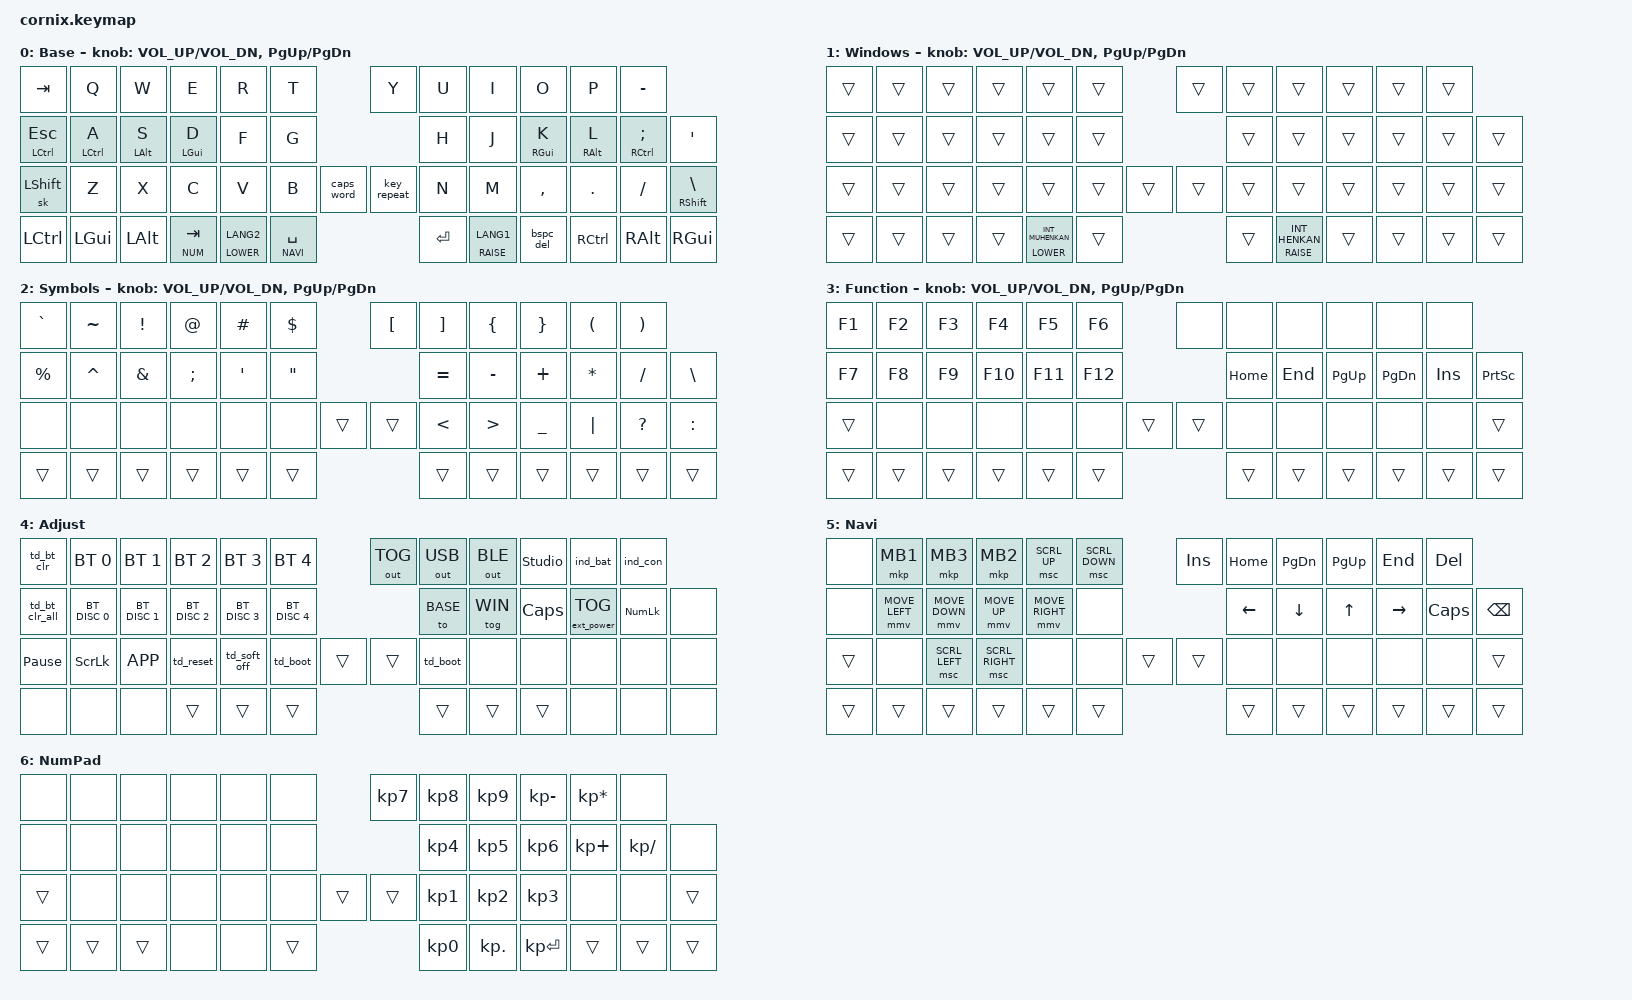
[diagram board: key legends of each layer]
/*
 * Copyright (c) 2020 The ZMK Contributors
 *
 * SPDX-License-Identifier: MIT
 */

#include "zmk-helpers/helper.h"
#include "includes/cornix54.h"

#define HM_TAPPING_TERM 200
#define LT_TAPPING_TERM 250

#define HM_PRIOR_IDLE 125
#define LT_PRIOR_IDLE 150
#define TD_TAPPING_TERM 250

// A higher index wins. WIN only swaps the IME thumbs on Base, so it sits
// right above Base; any higher and its &lt bindings cover the NumPad thumbs.
#define BASE   0
#define WIN    1
#define LOWER  2
#define RAISE  3
#define ADJUST 4
#define NAVI   5
#define NUM    6

// https://github.com/urob/zmk-config/tree/main#timeless-homerow-mods

#define KEYS_L LT0 LT1 LT2 LT3 LT4 LT5 LM0 LM1 LM2 LM3 LM4 LM5 LB0 LB1 LB2 LB3 LB4 LB5  // left hand
#define KEYS_R RT0 RT1 RT2 RT3 RT4 RT5 RM0 RM1 RM2 RM3 RM4 RM5 RB0 RB1 RB2 RB3 RB4 RB5  // right hand
// LH2 is the Tab thumb, RH2 is Backspace. HRM has to include them or
// Shift/Ctrl/Cmd never apply to those keys.
#define KEYS_T LH2 LH1 LH0 RH0 RH1 RH2
#define ZMK_POINTING_DEFAULT_MOVE_VAL 800
#define ZMK_POINTING_DEFAULT_SCRL_VAL 15

#include <behaviors.dtsi>
#include <behaviors/rgbled_widget.dtsi>
#include <dt-bindings/zmk/bt.h>
#include <dt-bindings/zmk/ext_power.h>
#include <dt-bindings/zmk/keys.h>
#include <dt-bindings/zmk/modifiers.h>
#include <dt-bindings/zmk/outputs.h>
#include <dt-bindings/zmk/pointing.h>

/ {
    // Activate ADJUST layer by pressing raise and lower

    behaviors {
        bspc_del: backspace_delete {
            compatible = "zmk,behavior-mod-morph";
            #binding-cells = <0>;
            display-name = "Backspace / Delete";

            bindings = <&kp BACKSPACE>, <&kp DELETE>;
            mods = <(MOD_LSFT | MOD_RSFT)>;
        };

        hm_l: homerow_mods_left {
            compatible = "zmk,behavior-hold-tap";
            #binding-cells = <2>;
            bindings = <&kp>, <&kp>;

            flavor = "balanced";
            tapping-term-ms = <HM_TAPPING_TERM>;
            quick-tap-ms = <200>;                // repeat on tap-into-hold
            require-prior-idle-ms = <HM_PRIOR_IDLE>;
            hold-trigger-key-positions = <KEYS_R KEYS_T>;
            hold-trigger-on-release;
        };

        hm_r: homerow_mods_right {
            compatible = "zmk,behavior-hold-tap";
            #binding-cells = <2>;
            bindings = <&kp>, <&kp>;

            flavor = "balanced";
            tapping-term-ms = <HM_TAPPING_TERM>;
            quick-tap-ms = <200>;
            require-prior-idle-ms = <HM_PRIOR_IDLE>;
            hold-trigger-key-positions = <KEYS_L KEYS_T>;
            hold-trigger-on-release;
        };

        // Plain &mt is hold-preferred, so rolling Esc into the next key
        // (Esc→j in Vim) became Ctrl+J. No positional trigger here: this key
        // exists for same-hand Ctrl+C / Ctrl+Z, which hm_l cannot do.
        esc_ctl: escape_control {
            compatible = "zmk,behavior-hold-tap";
            #binding-cells = <2>;
            bindings = <&kp>, <&kp>;

            flavor = "balanced";
            tapping-term-ms = <HM_TAPPING_TERM>;
            quick-tap-ms = <200>;
            require-prior-idle-ms = <HM_PRIOR_IDLE>;
        };

        lt: layer_tap {
            compatible = "zmk,behavior-hold-tap";
            #binding-cells = <2>;
            bindings = <&mo>, <&kp>;

            // balanced keeps a roll (thumb released before the next key) a tap,
            // yet a held thumb + quick key gets the layer without waiting out
            // the tapping term as tap-preferred did. Prior idle keeps Space
            // typed mid-word a tap.
            flavor = "balanced";
            tapping-term-ms = <LT_TAPPING_TERM>;
            quick-tap-ms = <200>;
            require-prior-idle-ms = <LT_PRIOR_IDLE>;
        };

        // Destructive Adjust keys fire only on a double tap, so brushing them
        // while holding Lower + Raise does nothing.
        td_bt_clr: tap_dance_bt_clear {
            compatible = "zmk,behavior-tap-dance";
            #binding-cells = <0>;
            display-name = "BT Clear (x2)";
            tapping-term-ms = <TD_TAPPING_TERM>;
            bindings = <&none>, <&bt BT_CLR>;
        };

        td_bt_clr_all: tap_dance_bt_clear_all {
            compatible = "zmk,behavior-tap-dance";
            #binding-cells = <0>;
            display-name = "BT Clear All (x2)";
            tapping-term-ms = <TD_TAPPING_TERM>;
            bindings = <&none>, <&bt BT_CLR_ALL>;
        };

        td_reset: tap_dance_sys_reset {
            compatible = "zmk,behavior-tap-dance";
            #binding-cells = <0>;
            display-name = "Reset (x2)";
            tapping-term-ms = <TD_TAPPING_TERM>;
            bindings = <&none>, <&sys_reset>;
        };

        td_soft_off: tap_dance_soft_off {
            compatible = "zmk,behavior-tap-dance";
            #binding-cells = <0>;
            display-name = "Soft Off (x2)";
            tapping-term-ms = <TD_TAPPING_TERM>;
            bindings = <&none>, <&soft_off>;
        };

        // Tap dance keeps the event source, so the right half's copy still
        // reboots the right half into its bootloader.
        td_boot: tap_dance_bootloader {
            compatible = "zmk,behavior-tap-dance";
            #binding-cells = <0>;
            display-name = "Bootloader (x2)";
            tapping-term-ms = <TD_TAPPING_TERM>;
            bindings = <&none>, <&bootloader>;
        };
    };

    conditional_layers {
        compatible = "zmk,conditional-layers";

        adjust_layer {
            if-layers = <RAISE LOWER>;
            then-layer = <ADJUST>;
        };
    };

    keymap {
        compatible = "zmk,keymap";

        default_layer {
            display-name = "Base";

            // ------------------------------------------------------------------------------------------------------------
            // |  TAB  |  Q  |  W  |  E   |  R   |  T   |                   |  Y   |  U   |  I   |  O   |  P   |  -  |
            // | ESC/C | A/C | S/A | D/G  |  F   |  G   |                   |  H   |  J   | K/G  | L/A  | ;/C  |  '  |
            // | SK SFT|  Z  |  X  |  C   |  V   |  B   | CAPS WORD | | REPEAT |  N   |  M   |  ,   |  .   |  /   | \/SHIFT |
            //             | GUI | ALT | CTRL | TAB/NUM | EN/SYM | SPACE/NAV | | ENTER | KANA/FN | BSPC/DEL | CTRL | ALT | GUI |

            bindings = <
&kp TAB  &kp Q          &kp W         &kp E         &kp R                &kp T                      &kp Y      &kp U                &kp I            &kp O         &kp P             &kp MINUS
&esc_ctl LCTRL ESC  &hm_l LCTRL A  &hm_l LALT S  &hm_l LGUI D  &kp F                &kp G                      &kp H      &kp J                &hm_r RGUI K     &hm_r RALT L  &hm_r RCTRL SEMI  &kp SQT
&sk LSHIFT  &kp Z       &kp X         &kp C         &kp V                &kp B        &caps_word  &key_repeat  &kp N      &kp M                &kp COMMA        &kp DOT       &kp FSLH          &hm_r RSHFT BSLH
&kp LCTRL &kp LGUI      &kp LALT      &lt NUM TAB   &lt LOWER LANG2      &lt NAVI SPACE              &kp ENTER  &lt RAISE LANG1      &bspc_del         &kp RCTRL     &kp RALT          &kp RGUI
            >;
            sensor-bindings = <&inc_dec_kp C_VOL_UP C_VOL_DN &inc_dec_kp PG_UP PG_DN>;
        };

        Windows_layer {
            display-name = "Windows";

            // Toggled from Adjust. 英数 / かな taps become 無変換 / 変換.
            // Holds still open Symbols / Function. Other keys fall through.

            bindings = <
&trans &trans &trans &trans &trans &trans                    &trans &trans &trans &trans &trans &trans
&trans &trans &trans &trans &trans &trans                    &trans &trans &trans &trans &trans &trans
&trans &trans &trans &trans &trans &trans &trans &trans      &trans &trans &trans &trans &trans &trans
&trans &trans &trans &trans &lt LOWER INT_MUHENKAN &trans    &trans &lt RAISE INT_HENKAN &trans &trans &trans &trans
            >;
            sensor-bindings = <&inc_dec_kp C_VOL_UP C_VOL_DN &inc_dec_kp PG_UP PG_DN>;
        };

        Symbol_layer {
            display-name = "Symbols";

            // ------------------------------------------------------------------------------------------------------------
            // |   `   |  ~  |  !  |  @  |  #  |  $  |                   |  [  |  ]  |  {  |  }  |  (  |  )  |
            // |   %   |  ^  |  &  |  ;  |  '  |  "  |                   |  =  |  -  |  +  |  *  |  /  |  \  |
            // |       |     |     |     |     |     |        |  |       |  <  |  >  |  _  |  |  |  ?  |  :  |
            //               |     |     |     |     |        |  |       |     |     |     |     |

            bindings = <
&kp GRAVE  &kp TILDE  &kp EXCL   &kp AT    &kp HASH  &kp DLLR                  &kp LBKT   &kp RBKT  &kp LBRC   &kp RBRC  &kp LPAR      &kp RPAR
&kp PRCNT  &kp CARET  &kp AMPS   &kp SEMI  &kp SQT   &kp DQT                   &kp EQUAL  &kp MINUS &kp PLUS   &kp ASTRK &kp FSLH      &kp BSLH
&none      &none      &none      &none     &none     &none      &trans  &trans  &kp LT     &kp GT    &kp UNDER  &kp PIPE  &kp QUESTION  &kp COLON
&trans  &trans    &trans    &trans    &trans    &trans                     &trans     &trans        &trans     &trans     &trans    &trans
            >;
            sensor-bindings = <&inc_dec_kp C_VOL_UP C_VOL_DN &inc_dec_kp PG_UP PG_DN>;
        };

        Function_layer {
            display-name = "Function";

            // ------------------------------------------------------------------------------------------------------------
            // |  F1  |  F2  |  F3  |  F4  |  F5  |  F6  |                   |      |      |      |      |      |      |
            // |  F7  |  F8  |  F9  | F10  | F11  | F12  |                   | HOME | END  | PGUP | PGDN | INS  | PSCR |
            // |      |      |      |      |      |      |        |  |       |      |      |      |      |      |      |
            //               |      |      |      |      |       |  |       |      |      |      |      |

            bindings = <
&kp F1  &kp F2  &kp F3  &kp F4   &kp F5  &kp F6                         &none     &none       &none        &none         &none    &none
&kp F7  &kp F8  &kp F9  &kp F10  &kp F11 &kp F12                        &kp HOME  &kp END     &kp PAGE_UP  &kp PAGE_DOWN &kp INS  &kp PSCRN
&trans  &none   &none   &none    &none   &none          &trans  &trans  &none     &none       &none        &none         &none    &trans
&trans  &trans  &trans  &trans   &trans  &trans                         &trans    &trans      &trans       &trans        &trans   &trans
            >;
            sensor-bindings = <&inc_dec_kp C_VOL_UP C_VOL_DN &inc_dec_kp PG_UP PG_DN>;
        };

        Adjust_layer {
            display-name = "Adjust";

            // ----------------------------------------------------------------------------------------------------------------------------
            // | BT CLR²|  BT 0   |  BT 1   |  BT 2   |  BT 3   |  BT 4   |                  | OUT TOG | USB | BLE | STUDIO | BAT | CON |
            // | CLR AL²| DISC 0  | DISC 1  | DISC 2  | DISC 3  | DISC 4  |                  |  BASE   | WIN | CAPS| POWER  | NUM |     |
            // | PAUSE  | SCROLL  | MENU    | RESET²  | OFF²    | BOOT L² |        |  |      | BOOT R² |     |     |        |     |     |
            //                    |         |         |         |         |        |  |      |         |     |     |        |

            bindings = <
&td_bt_clr      &bt BT_SEL 0   &bt BT_SEL 1   &bt BT_SEL 2   &bt BT_SEL 3   &bt BT_SEL 4                   &out OUT_TOG  &out OUT_USB  &out OUT_BLE  &studio_unlock     &ind_bat  &ind_con
&td_bt_clr_all  &bt BT_DISC 0  &bt BT_DISC 1  &bt BT_DISC 2  &bt BT_DISC 3  &bt BT_DISC 4                  &to BASE      &tog WIN      &kp CAPSLOCK  &ext_power EP_TOG  &kp KP_NUMLOCK  &none
&kp PAUSE_BREAK &kp SCROLLLOCK &kp K_APP       &td_reset       &td_soft_off    &td_boot        &trans  &trans  &td_boot  &none          &none         &none              &none  &none
&none           &none          &none          &trans         &trans         &trans                         &trans        &trans         &trans        &none              &none  &none
            >;
        };

        Navi_layer {
            display-name = "Navi";

            // ------------------------------------------------------------------------------------------------------------
            // |      | LCLK  | MCLK | RCLK | SCRL U| SCRL D|                   | INS  | HOME | PGDN | PGUP | END   | DEL  |
            // |      | LEFT  | DOWN | UP   | RIGHT |       |                   | LEFT | DOWN | UP   | RIGHT| CAPS  | BSPC |
            // |      |       | SCRL L|SCRL R|      |       |        |  |       |      |      |      |      |       |      |
            //                |      |      |      |       |      |  |       |      |      |      |      |

            bindings = <
&none  &mkp MB1        &mkp MB3        &mkp MB2         &msc SCRL_UP     &msc SCRL_DOWN                       &kp INS       &kp HOME  &kp PAGE_DOWN  &kp PAGE_UP  &kp END    &kp DELETE
&none  &mmv MOVE_LEFT  &mmv MOVE_DOWN  &mmv MOVE_UP     &mmv MOVE_RIGHT  &none                                 &kp LEFT      &kp DOWN  &kp UP         &kp RIGHT    &kp CAPSLOCK  &kp BACKSPACE
&trans &none           &msc SCRL_LEFT  &msc SCRL_RIGHT  &none            &none          &trans  &trans         &none         &none     &none          &none         &none      &trans
&trans &trans     &trans    &trans    &trans      &trans                        &trans        &trans    &trans         &trans        &trans     &trans
            >;
        };

        KeyPad_layer {
            display-name = "NumPad";
            bindings = <
&none  &none  &none  &none  &none  &none                  &kp KP_N7        &kp KP_N8        &kp KP_N9        &kp KP_MINUS  &kp KP_MULTIPLY  &none
&none  &none  &none  &none  &none  &none                  &kp KP_NUMBER_4  &kp KP_NUMBER_5  &kp KP_N6        &kp KP_PLUS   &kp KP_DIVIDE    &none
&trans &none  &none  &none  &none  &none  &trans  &trans  &kp KP_NUMBER_1  &kp KP_NUMBER_2  &kp KP_N3        &none         &none            &trans
&trans &trans &trans &none  &none  &trans                 &kp KP_N0        &kp KP_DOT       &kp KP_ENTER     &trans        &trans           &trans
            >;
        };
    };
};
